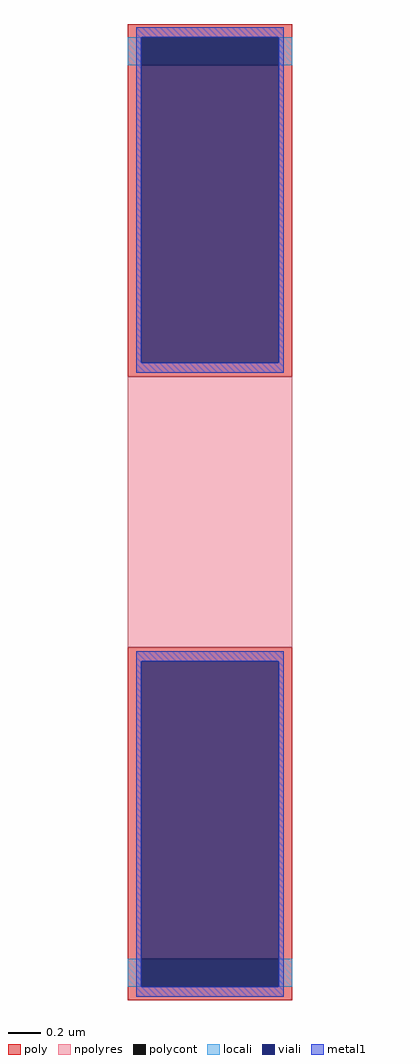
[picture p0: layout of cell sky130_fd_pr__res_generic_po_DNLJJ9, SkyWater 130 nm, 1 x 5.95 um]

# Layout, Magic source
magic
tech sky130A
magscale 1 2
<< poly >>
rect -100 579 100 595
rect -100 545 -84 579
rect 84 545 100 579
rect -100 165 100 545
rect -100 -545 100 -165
rect -100 -579 -84 -545
rect 84 -579 100 -545
rect -100 -595 100 -579
<< polycont >>
rect -84 545 84 579
rect -84 -579 84 -545
<< npolyres >>
rect -100 -165 100 165
<< locali >>
rect -100 545 -84 579
rect 84 545 100 579
rect -100 -579 -84 -545
rect 84 -579 100 -545
<< viali >>
rect -84 545 84 579
rect -84 182 84 545
rect -84 -545 84 -182
rect -84 -579 84 -545
<< metal1 >>
rect -90 579 90 591
rect -90 182 -84 579
rect 84 182 90 579
rect -90 170 90 182
rect -90 -182 90 -170
rect -90 -579 -84 -182
rect 84 -579 90 -182
rect -90 -591 90 -579
<< properties >>
string gencell sky130_fd_pr__res_generic_po
string library sky130
string parameters w 1.0 l 1.650 m 1 nx 1 wmin 0.330 lmin 1.650 rho 48.2 val 79.53 dummy 0 dw 0.0 term 0.0 sterm 0.0 caplen 0.4 snake 0 guard 0 glc 1 grc 1 gtc 1 gbc 1 roverlap 0 endcov 100 full_metal 1 hv_guard 0 n_guard 0 vias 1 viagb 0 viagt 0 viagl 0 viagr 0
<< end >>
